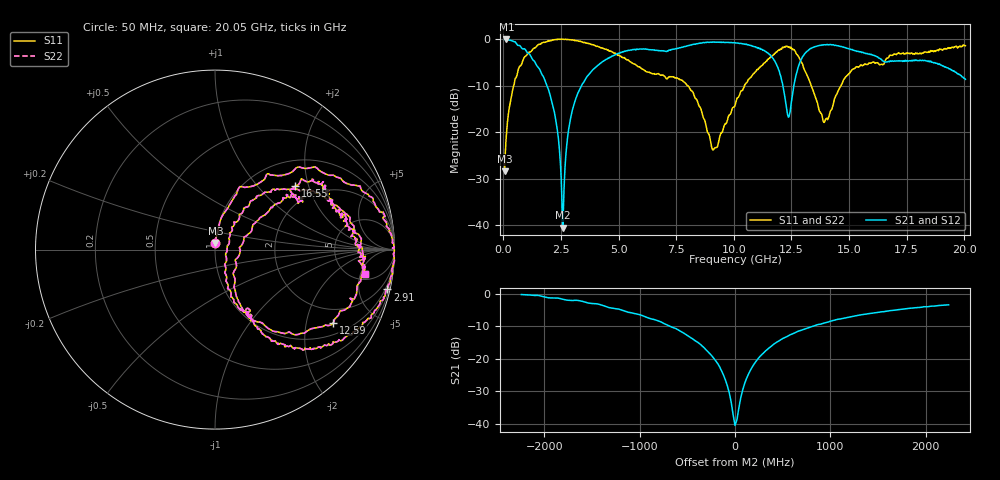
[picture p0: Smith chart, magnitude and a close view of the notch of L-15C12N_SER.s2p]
#	mhz	s	ma	r	50
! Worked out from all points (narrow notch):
!   1001 points, 50 MHz to 20.05 GHz, reference 50 ohm
!   highest |S21| = -0.02 dB at 130 MHz (marker M1); lowest = -40.6 dB at 2.57 GHz (marker M2)
!   notch at M2: 37.6 dB deep, 375 MHz wide at half that depth
!   lowest |S11| = -28.5 dB at 50 MHz (marker M3), VSWR 1.08, Z = 50.1 + j3.78 ohm
!   |S11| at or under -10 dB: start of sweep to 444.3 MHz; 7.992 GHz to 10.46 GHz (2.471 GHz wide, 26.8 % of centre); 13.36 GHz to 14.66 GHz (1.299 GHz wide, 9.28 % of centre)
!   |S22| runs from -28.5 to 0.0 dB; largest |S21 - S12| = 0
!   S11 on the Smith chart (normalised r, x): 50 MHz: 1.00, +0.08; 2.91 GHz: 0.59, -8.72; 12.59 GHz: 1.42, -2.89; 16.55 GHz: 1.57, +1.64; 20.05 GHz: 6.12, -6.07
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50  0.0377 85.8  0.9932 -1.8  0.9932 -1.8  0.0377 85.8
130  0.09508 81.8  0.9974 -6.1  0.9974 -6.1  0.09508 81.8
690  0.5047 55.5  0.857 -32.2  0.857 -32.2  0.5047 55.5
1870  0.9394 13.4  0.3239 -74.2  0.3239 -74.2  0.9394 13.4
2290  0.9897 2.3  0.1261 -85.0  0.1261 -85.0  0.9897 2.3
2570  0.9972 -4.3  0.00938 -18.2  0.00938 -18.2  0.9972 -4.3
2910  0.9848 -13.0  0.1392 71.7  0.1392 71.7  0.9848 -13.0
3390  0.9362 -24.1  0.3151 61.7  0.3151 61.7  0.9362 -24.1
5350  0.5988 -58.4  0.7484 23.7  0.7484 23.7  0.5988 -58.4
6730  0.4256 -61.5  0.7546 5.9  0.7546 5.9  0.4256 -61.5
8130  0.282 -70.5  0.8651 -1.0  0.8651 -1.0  0.282 -70.5
9130  0.06575 -14.6  0.928 -15.0  0.928 -15.0  0.06575 -14.6
10050  0.1929 52.2  0.9151 -27.9  0.9151 -27.9  0.1929 52.2
11610  0.6454 29.0  0.6626 -59.0  0.6626 -59.0  0.6454 29.0
12350  0.8305 -12.2  0.1492 -36.1  0.1492 -36.1  0.8305 -12.2
12590  0.775 -31.6  0.3012 18.6  0.3012 18.6  0.775 -31.6
13390  0.3027 -65.5  0.8048 -9.5  0.8048 -9.5  0.3027 -65.5
13970  0.1352 -17.9  0.8685 -26.4  0.8685 -26.4  0.1352 -17.9
15090  0.454 35.8  0.7722 -48.4  0.7722 -48.4  0.454 35.8
16550  0.5694 38.3  0.5697 -57.2  0.5697 -57.2  0.5694 38.3
16730  0.6442 35.9  0.5758 -54.8  0.5758 -54.8  0.6442 35.9
20050  0.8487 -9.4  0.37 -99.1  0.37 -99.1  0.8487 -9.4
